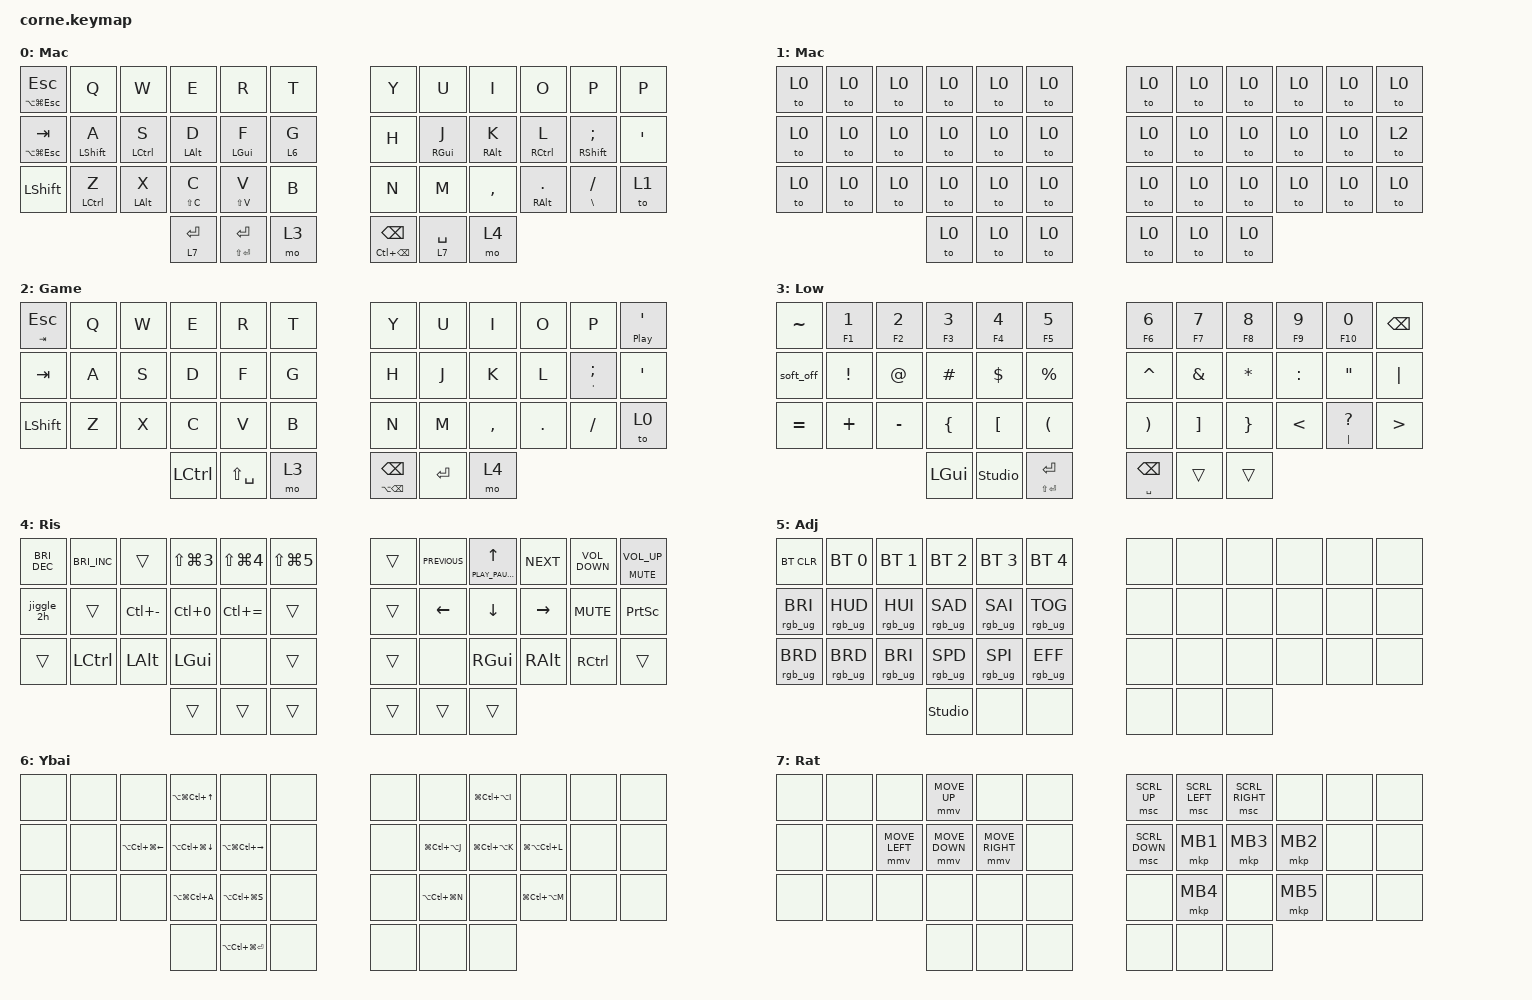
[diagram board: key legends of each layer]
/*
 * Copyright (c) 2020 The ZMK Contributors
 *
 * SPDX-License-Identifier: MIT
 */

#include <dt-bindings/zmk/mouse.h>
#include <behaviors.dtsi>
#include <dt-bindings/zmk/bt.h>
#include <dt-bindings/zmk/keys.h>
#include <dt-bindings/zmk/pointing.h>
#include <dt-bindings/zmk/rgb.h>

#define ZMK_POINTING_DEFAULT_MOVE_VAL 6000
#define ZMK_POINTING_DEFAULT_SCRL_VAL 15

&led_strip { chain-length = <54>; };

&soft_off {
    hold-time-ms = <50>; // Only turn off it the key is held for 5 seconds or longer.
};

&mmv { time-to-max-speed-ms = <4000>; };

/ {
    macros {
        launch_sndvol: launch_sndvol {
            compatible = "zmk,behavior-macro";
            #binding-cells = <0>;
            bindings = <&kp LG(R) &kp S &kp N &kp D &kp V &kp O &kp L &kp DOT &kp E &kp X &kp E &kp ENTER>;
            wait-ms = <20>;
        };

        jiggle_2h: jiggle_2h {
            compatible = "zmk,behavior-macro";
            #binding-cells = <0>;
            wait-ms = <240000>; // 4 minutes wait between steps
            tap-ms = <100>;
            bindings = <&mmv MOVE_X(30) &mmv MOVE_X(-30) &mmv MOVE_X(30) &mmv MOVE_X(-30) &mmv MOVE_X(30) &mmv MOVE_X(-30) &mmv MOVE_X(30) &mmv MOVE_X(-30) &mmv MOVE_X(30) &mmv MOVE_X(-30) &mmv MOVE_X(30) &mmv MOVE_X(-30) &mmv MOVE_X(30) &mmv MOVE_X(-30) &mmv MOVE_X(30) &mmv MOVE_X(-30) &mmv MOVE_X(30) &mmv MOVE_X(-30) &mmv MOVE_X(30) &mmv MOVE_X(-30) &mmv MOVE_X(30) &mmv MOVE_X(-30) &mmv MOVE_X(30) &mmv MOVE_X(-30) &mmv MOVE_X(30) &mmv MOVE_X(-30) &mmv MOVE_X(30) &mmv MOVE_X(-30) &mmv MOVE_X(30) &mmv MOVE_X(-30)>;
        };
    };

    behaviors {
        mt: mod_tap {
            compatible = "zmk,behavior-hold-tap";
            label = "MOD_TAP";
            #binding-cells = <2>;
            tapping-term-ms = <300>;
            bindings = <&kp>, <&kp>;

            flavor = "balanced";
            require-prior-idle-ms = <100>;
        };

        lt: layer_tap {
            compatible = "zmk,behavior-hold-tap";
            label = "LAYER_TAP";
            #binding-cells = <2>;
            tapping-term-ms = <300>;
            bindings = <&mo>, <&kp>;

            flavor = "balanced";
        };
    };

    conditional_layers {
        compatible = "zmk,conditional-layers";

        adjust_layer {
            if-layers = <4 3>;
            then-layer = <5>;
        };
    };

    keymap {
        compatible = "zmk,keymap";

        defaultLayer {
            display-name = "Mac";

            // -----------------------------------------------------------------------------------------
            // |  TAB |  Q  |  W  |  E  |  R  |  T  |   |  Y  |  U   |  I  |  O  |  P  | BKSP |
            // | CTRL |  A  |  S  |  D  |  F  |  G  |   |  H  |  J   |  K  |  L  |  ;  |  '   |
            // | SHFT |  Z  |  X  |  C  |  V  |  B  |   |  N  |  M   |  ,  |  .  |  /  | ESC  |
            //                    | GUI | LWR | SPC |   | ENT | RSE  | ALT |

            bindings = <
&mt LA(LG(ESC)) ESC  &kp Q             &kp W               &kp E           &kp R                &kp T      &kp Y                        &kp U            &kp I            &kp O                &kp P                      &kp P
&mt LA(LG(ESC)) TAB  &mt LEFT_SHIFT A  &mt LEFT_CONTROL S  &mt LEFT_ALT D  &mt LEFT_GUI F       &lt 6 G    &kp H                        &mt RIGHT_GUI J  &mt RIGHT_ALT K  &mt RIGHT_CONTROL L  &mt RIGHT_SHIFT SEMICOLON  &kp SQT
&kp LSHFT            &mt LCTRL Z       &mt LEFT_ALT X      &mt LS(C) C     &mt LS(V) V          &kp B      &kp N                        &kp M            &kp COMMA        &mt RIGHT_ALT DOT    &mt BACKSLASH FSLH         &to 1
                                                           &lt 7 ENTER     &mt LS(ENTER) ENTER  &mo 3      &mt LC(BACKSPACE) BACKSPACE  &lt 7 SPACE      &mo 4
            >;
        };

        Cache {
            bindings = <
&to 0  &to 0  &to 0  &to 0  &to 0  &to 0    &to 0  &to 0  &to 0  &to 0  &to 0  &to 0
&to 0  &to 0  &to 0  &to 0  &to 0  &to 0    &to 0  &to 0  &to 0  &to 0  &to 0  &to 2
&to 0  &to 0  &to 0  &to 0  &to 0  &to 0    &to 0  &to 0  &to 0  &to 0  &to 0  &to 0
                     &to 0  &to 0  &to 0    &to 0  &to 0  &to 0
            >;

            label = "Mac";
        };

        game {
            display-name = "Game";
            bindings = <
&mt TAB ESCAPE  &kp Q  &kp W  &kp E      &kp R          &kp T    &kp Y                        &kp U    &kp I      &kp O    &kp P         &mt C_PLAY_PAUSE SQT
&kp TAB         &kp A  &kp S  &kp D      &kp F          &kp G    &kp H                        &kp J    &kp K      &kp L    &mt SQT SEMI  &kp SQT
&kp LSHFT       &kp Z  &kp X  &kp C      &kp V          &kp B    &kp N                        &kp M    &kp COMMA  &kp DOT  &kp FSLH      &to 0
                              &kp LCTRL  &kp LS(SPACE)  &mo 3    &mt LA(BACKSPACE) BACKSPACE  &kp RET  &mo 4
            >;
        };

        lowerLayer {
            display-name = "Low";

            // -----------------------------------------------------------------------------------------
            // |  TAB |  1  |  2  |  3  |  4  |  5  |   |  6  |  7  |  8  |  9  |  0  | BKSP |
            // | BTCLR| BT1 | BT2 | BT3 | BT4 | BT5 |   | LFT | DWN |  UP | RGT |     |      |
            // | SHFT |     |     |     |     |     |   |     |     |     |     |     |      |
            //                    | GUI |     | SPC |   | ENT |     | ALT |

            bindings = <
&kp TILDE  &mt F1 NUMBER_1  &mt F2 NUMBER_2  &mt F3 NUMBER_3  &mt F4 NUMBER_4   &mt F5 NUMBER_5         &mt F6 NUMBER_6        &mt F7 NUMBER_7    &mt F8 NUMBER_8  &mt F9 NUMBER_9  &mt F10 NUMBER_0   &kp BSPC
&soft_off  &kp EXCLAMATION  &kp AT_SIGN      &kp HASH         &kp DOLLAR        &kp PERCENT             &kp CARET              &kp AMPERSAND      &kp ASTERISK     &kp COLON        &kp DOUBLE_QUOTES  &kp PIPE
&kp EQUAL  &kp PLUS         &kp MINUS        &kp LEFT_BRACE   &kp LEFT_BRACKET  &kp LEFT_PARENTHESIS    &kp RIGHT_PARENTHESIS  &kp RIGHT_BRACKET  &kp RIGHT_BRACE  &kp LESS_THAN    &mt PIPE QUESTION  &kp GREATER_THAN
                                             &kp LGUI         &studio_unlock    &mt LS(ENTER) ENTER     &mt SPACE BACKSPACE    &trans             &trans
            >;
        };

        raiseLayer {
            display-name = "Ris";

            // -----------------------------------------------------------------------------------------
            // |  TAB |  !  |  @  |  #  |  $  |  %  |   |  ^  |  &  |  *  |  (  |  )  | BKSP |
            // | CTRL |     |     |     |     |     |   |  -  |  =  |  [  |  ]  |  \  |  `   |
            // | SHFT |     |     |     |     |     |   |  _  |  +  |  {  |  }  | "|" |  ~   |
            //                    | GUI |     | SPC |   | ENT |     | ALT |

            bindings = <
&kp C_BRIGHTNESS_DEC  &kp C_BRIGHTNESS_INC  &trans         &kp LS(LG(NUMBER_3))  &kp LS(LG(NUMBER_4))  &kp LS(LG(NUMBER_5))    &trans  &kp C_PREVIOUS  &mt K_PLAY_PAUSE UP_ARROW  &kp C_NEXT       &kp C_VOLUME_DOWN  &mt K_MUTE C_VOLUME_UP
&jiggle_2h            &trans                &kp LC(MINUS)  &kp LC(NUMBER_0)      &kp LC(EQUAL)         &trans                  &trans  &kp LEFT_ARROW  &kp DOWN_ARROW             &kp RIGHT_ARROW  &kp C_MUTE         &kp PRINTSCREEN
&trans                &kp LCTRL             &kp LALT       &kp LGUI              &none                 &trans                  &trans  &none           &kp RGUI                   &kp RALT         &kp RCTRL          &trans
                                                           &trans                &trans                &trans                  &trans  &trans          &trans
            >;

            label = "Ris";
        };

        adjustLayer {
            bindings = <
&bt BT_CLR       &bt BT_SEL 0     &bt BT_SEL 1     &bt BT_SEL 2     &bt BT_SEL 3     &bt BT_SEL 4       &none  &none  &none  &none  &none  &none
&rgb_ug RGB_BRI  &rgb_ug RGB_HUD  &rgb_ug RGB_HUI  &rgb_ug RGB_SAD  &rgb_ug RGB_SAI  &rgb_ug RGB_TOG    &none  &none  &none  &none  &none  &none
&rgb_ug RGB_BRD  &rgb_ug RGB_BRD  &rgb_ug RGB_BRI  &rgb_ug RGB_SPD  &rgb_ug RGB_SPI  &rgb_ug RGB_EFF    &none  &none  &none  &none  &none  &none
                                                   &studio_unlock   &none            &none              &none  &none  &none
            >;

            label = "Adj";
        };

        yabai {
            bindings = <
&none  &none  &none                       &kp LA(LG(LC(UP_ARROW)))    &none                  &none    &none  &none              &kp LG(LC(LA(I)))  &none              &none  &none
&none  &none  &kp LA(LC(LG(LEFT_ARROW)))  &kp LA(LC(LG(DOWN_ARROW)))  &kp LA(LG(LC(RIGHT)))  &none    &none  &kp LG(LC(LA(J)))  &kp LG(LC(LA(K)))  &kp LG(LA(LC(L)))  &none  &none
&none  &none  &none                       &kp LA(LG(LC(A)))           &kp LA(LC(LG(S)))      &none    &none  &kp LA(LC(LG(N)))  &none              &kp LG(LC(LA(M)))  &none  &none
                                          &none                       &kp LA(LC(LG(ENTER)))  &none    &none  &none              &none
            >;

            label = "Ybai";
        };

        mouseKey {
            bindings = <
&none  &none  &none           &mmv MOVE_UP    &none            &none    &msc SCRL_UP    &msc SCRL_LEFT  &msc SCRL_RIGHT  &none     &none  &none
&none  &none  &mmv MOVE_LEFT  &mmv MOVE_DOWN  &mmv MOVE_RIGHT  &none    &msc SCRL_DOWN  &mkp MB1        &mkp MB3         &mkp MB2  &none  &none
&none  &none  &none           &none           &none            &none    &none           &mkp MB4        &none            &mkp MB5  &none  &none
                              &none           &none            &none    &none           &none           &none
            >;

            label = "Rat";
        };
    };
};
